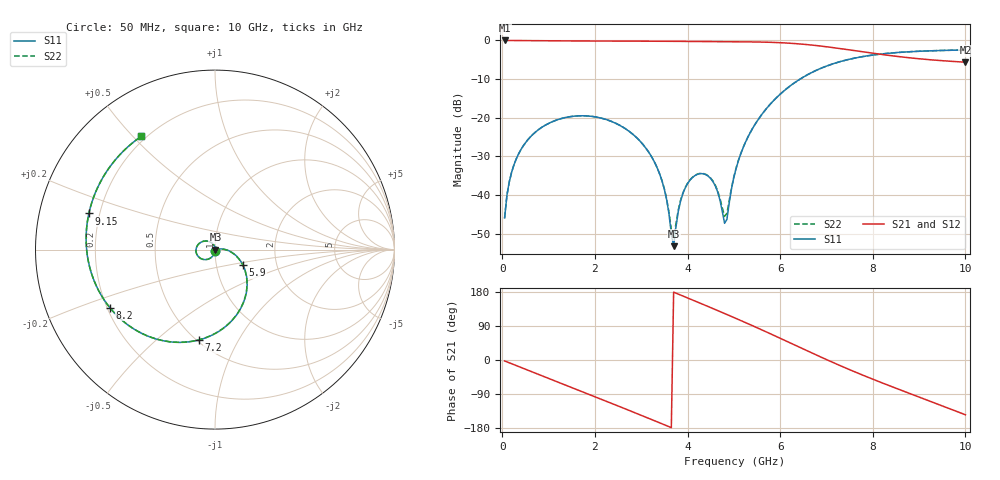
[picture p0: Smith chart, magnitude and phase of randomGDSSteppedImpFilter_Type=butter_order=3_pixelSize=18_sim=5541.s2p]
! freq	dB(S11)	phase(S11)	dB(S12)	phase(S12)
!  dB(S21)	phase(S21)	dB(S22)	phase(S22)
!S-par simulation data
#  GHz  S  DB  R 50
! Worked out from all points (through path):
!   200 points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, 50 MHz to 10 GHz, reference 50 ohm
!   highest |S21| = 0.00 dB at 50 MHz (marker M1); lowest = -5.6 dB at 10 GHz (marker M2)
!   group delay of S21, straight-line fit = 143 ps
!   lowest |S11| = -53.2 dB at 3.7 GHz (marker M3), VSWR 1.00, Z = 50.2 - j0.0568 ohm
!   |S11| at or under -10 dB: start of sweep to 6.43 GHz
!   |S22| runs from -50.9 to -2.5 dB; largest |S21 - S12| = 0
!   S11 on the Smith chart (normalised r, x): 50 MHz: 1.00, -0.01; 5.9 GHz: 1.34, -0.24; 7.2 GHz: 0.51, -0.70; 8.2 GHz: 0.21, -0.25; 9.15 GHz: 0.16, +0.14; 10 GHz: 0.18, +0.53
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0.05  -45.90 -90.1  -0.00 -2.5  -0.00 -2.5  -45.90 -90.1
0.2  -34.14 -99.3  -0.02 -9.8  -0.02 -9.8  -34.14 -99.3
0.5  -26.46 -114.8  -0.04 -24.4  -0.04 -24.4  -26.46 -114.9
1.75  -19.48 -176.0  -0.14 -84.8  -0.14 -84.8  -19.48 -176.1
2.75  -23.60 134.1  -0.18 -133.6  -0.18 -133.6  -23.60 133.7
3.4  -34.60 97.7  -0.21 -165.9  -0.21 -165.9  -34.56 95.9
3.55  -41.22 82.8  -0.22 -173.4  -0.22 -173.4  -41.05 78.9
3.7  -53.19 -15.0  -0.23 179.0  -0.23 179.0  -50.92 -11.7
3.85  -41.52 -83.1  -0.24 171.5  -0.24 171.5  -41.30 -78.5
4.05  -36.17 -99.4  -0.26 161.3  -0.26 161.3  -36.09 -96.5
4.5  -35.70 -119.6  -0.29 138.3  -0.29 138.3  -35.59 -116.4
4.65  -39.15 -119.6  -0.30 130.5  -0.30 130.5  -38.86 -114.8
4.8  -47.28 -74.9  -0.31 122.7  -0.31 122.7  -45.47 -71.5
5.05  -33.05 8.0  -0.33 109.5  -0.33 109.5  -32.94 5.1
5.4  -22.85 -3.2  -0.38 90.7  -0.38 90.7  -22.83 -4.2
5.9  -15.04 -28.7  -0.53 63.0  -0.53 63.0  -15.04 -29.2
6.7  -8.19 -73.0  -1.22 17.8  -1.22 17.8  -8.19 -73.2
7.2  -5.81 -100.3  -1.95 -9.7  -1.95 -9.7  -5.81 -100.5
8.2  -3.49 -151.1  -3.64 -60.3  -3.64 -60.3  -3.49 -151.2
8.35  -3.31 -158.3  -3.87 -67.4  -3.87 -67.4  -3.31 -158.4
9.15  -2.72 164.0  -4.91 -104.6  -4.91 -104.6  -2.72 163.9
10  -2.46 123.2  -5.63 -144.6  -5.63 -144.6  -2.46 123.0
